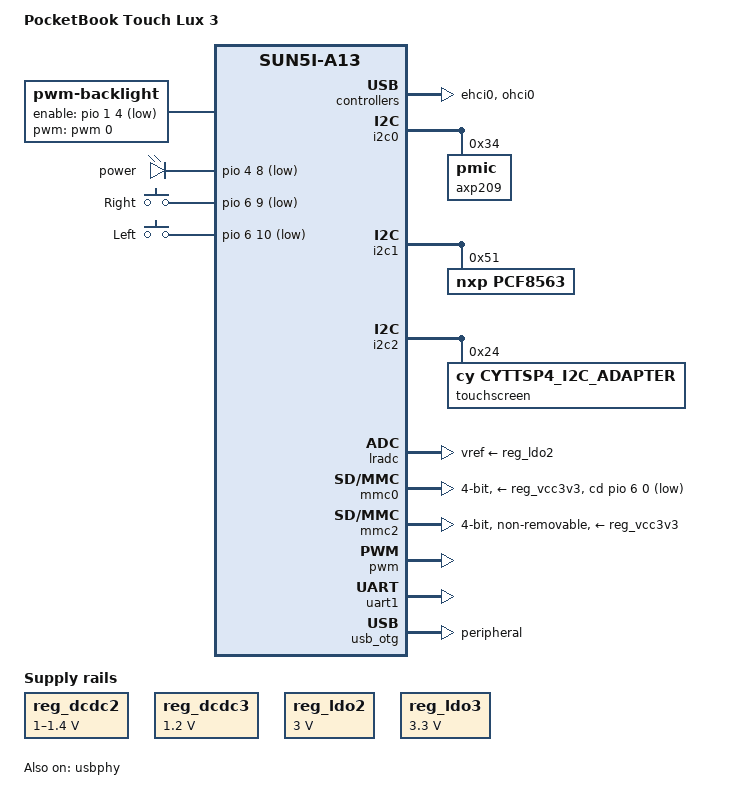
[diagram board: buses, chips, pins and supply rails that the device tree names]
/*
 * Copyright 2019 Ondrej Jirman <megous@megous.com>
 */

/dts-v1/;
#include "sun5i-a13.dtsi"
#include "sunxi-common-regulators.dtsi"
#include <dt-bindings/gpio/gpio.h>
#include <dt-bindings/input/input.h>
#include <dt-bindings/interrupt-controller/irq.h>
#include <dt-bindings/pwm/pwm.h>

/ {
	model = "PocketBook Touch Lux 3";
	compatible = "pocketbook,touch-lux-3", "allwinner,sun5i-a13";

	aliases {
		serial0 = &uart1;
	};

	backlight: backlight {
		compatible = "pwm-backlight";
		pwms = <&pwm 0 50000 PWM_POLARITY_INVERTED>;
		enable-gpios = <&pio 1 4 GPIO_ACTIVE_LOW>; /* PB4 */
		brightness-levels = <0 10 20 30 40 50 60 70 80 90 100>;
		default-brightness-level = <8>;
	};

	chosen {
		stdout-path = "serial0:115200n8";
	};

	leds {
		compatible = "gpio-leds";

		power {
			gpios = <&pio 4 8 GPIO_ACTIVE_LOW>; /* PE8 */
			default-state = "on";
		};
	};

	gpio-keys {
		compatible = "gpio-keys";
		autorepeat;
		label = "GPIO Keys";

		key-right {
			label = "Right";
			linux,code = <KEY_RIGHT>;
			gpios = <&pio 6 9 GPIO_ACTIVE_LOW>; /* PG9 */
		};

		key-left {
			label = "Left";
			linux,code = <KEY_LEFT>;
			gpios = <&pio 6 10 GPIO_ACTIVE_LOW>; /* PG10 */
		};
	};
};

&cpu0 {
	cpu-supply = <&reg_dcdc2>;
};

&ehci0 {
	status = "okay";
};

&ohci0 {
	status = "okay";
};

&i2c0 {
	status = "okay";

	axp209: pmic@34 {
		reg = <0x34>;
		interrupts = <0>;
	};
};

#include "axp209.dtsi"

&i2c1 {
	status = "okay";

	pcf8563: rtc@51 {
		compatible = "nxp,pcf8563";
		reg = <0x51>;
	};

	//TODO: pmic for edp (does not fit the regulator
	// framework nicely and is tightly coupled to edp)
};

&i2c2 {
	status = "okay";

        touchscreen@24 {
                compatible = "cy,cyttsp4_i2c_adapter";
                reg = <0x24>;

		//interrupt-parent = <&pio>;
		//interrupts = <6 11 IRQ_TYPE_EDGE_FALLING>; /* EINT11 (PG11) */

                cy,adapter_id = "cyttsp4_i2c_adapter";

                cy,core {
                        cy,name = "cyttsp4_core";
                        cy,id = "main_ttsp_core";

                        cy,irq_gpio = <203>;  /* PG11 */
                        cy,rst_gpio = <35>; /* PB3 */
                        cy,pwr_gpio = <133>; /* PE5 */

                        cy,flags = <0>;
                        // not supported on the chip
                        cy,easy_wakeup_gesture = <0>;

                        cy,mt {
                                cy,name = "cyttsp4_mt";

                                cy,inp_dev_name = "cyttsp4_mt";

                                /* CY_MT_FLAG_NONE */
                                cy,flags = <0>;
                                cy,abs = <
                                        /* ABS_MT_POSITION_X, CY_ABS_MIN_X, CY_ABS_MAX_X, 0, 0 */
					0x35    0          0x370 0 0
                                        /* ABS_MT_POSITION_Y, CY_ABS_MIN_Y, CY_ABS_MAX_Y, 0, 0 */
					0x36    0          0x500 0 0
                                        /* ABS_MT_PRESSURE, CY_ABS_MIN_P, CY_ABS_MAX_P, 0, 0 */
					0x3A    0          0xFF  0 0 
                                        /* CY_IGNORE_VALUE, CY_ABS_MIN_W, CY_ABS_MAX_W, 0, 0 */
					0xFFff  0          0xFF  0 0
                                        /* ABS_MT_TRACKING_ID, CY_ABS_MIN_T, CY_ABS_MAX_T, 0, 0 */
					0x39    0          0xF   0 0
                                        /* ABS_MT_TOUCH_MAJOR, 0, 255, 0, 0 */
					0x30    0          0xFF  0 0
                                        /* ABS_MT_TOUCH_MINOR, 0, 255, 0, 0 */
					0x31    0          0xFF  0 0
                                        /* ABS_MT_ORIENTATION, -127, 127, 0, 0 */
					0x34    0xffffff81 0x7F  0 0
					/* ??? */
					0x37    0          1     0 0
					0x19    0          0xFF  0 0
				>;

//                                cy,vkeys_x = <1024>;
//                                cy,vkeys_y = <758>;
                                cy,vkeys_x = <720>;
                                cy,vkeys_y = <1280>;
                        };  

                        cy,btn {
                                cy,name = "cyttsp4_btn";
                                cy,inp_dev_name = "cyttsp4_btn";
                        };  

                        cy,proximity {
                                cy,name = "cyttsp4_proximity";

                                cy,inp_dev_name = "cyttsp4_proximity";
                                cy,abs =
                                        /* ABS_DISTANCE, CY_PROXIMITY_MIN_VAL, CY_PROXIMITY_MAX_VAL, 0, 0 */
                                        <0x19 0 1 0 0>;
                        };  
                };
	};
};

&lradc {
	vref-supply = <&reg_ldo2>;
	status = "okay";

	button-200 {
		label = "Home";
		linux,code = <KEY_HOME>;
		channel = <0>;
		voltage = <200000>;
	};

	button-400 {
		label = "Menu";
		linux,code = <KEY_MENU>;
		channel = <0>;
		voltage = <400000>;
	};
};

&mmc0 {
	vmmc-supply = <&reg_vcc3v3>;
	bus-width = <4>;
	cd-gpios = <&pio 6 0 GPIO_ACTIVE_LOW>; /* PG0 */
	enable-gpios = <&pio 4 4 GPIO_ACTIVE_LOW>; /* PE4 */
	status = "okay";
};

&mmc2 {
         pinctrl-names = "default";
         pinctrl-0 = <&mmc2_4bit_pc_pins>;
         vmmc-supply = <&reg_vcc3v3>;
         bus-width = <4>;
         non-removable;
         status = "okay";
};

&otg_sram {
	status = "okay";
};

&pwm {
	pinctrl-names = "default";
	pinctrl-0 = <&pwm0_pin>;
	status = "okay";
};

&reg_dcdc2 {
	regulator-always-on;
	regulator-min-microvolt = <1000000>;
	regulator-max-microvolt = <1400000>;
	regulator-name = "vdd-cpu";
};

&reg_dcdc3 {
	regulator-always-on;
	regulator-min-microvolt = <1200000>;
	regulator-max-microvolt = <1200000>;
	regulator-name = "vdd-int-pll";
};

&reg_ldo1 {
	regulator-name = "vdd-rtc";
};

&reg_ldo2 {
	regulator-always-on;
	regulator-min-microvolt = <3000000>;
	regulator-max-microvolt = <3000000>;
	regulator-name = "avcc";
};

&reg_ldo3 {
	regulator-min-microvolt = <3300000>;
	regulator-max-microvolt = <3300000>;
	regulator-name = "vcc-wifi";
	/* We need this otherwise the LDO3 would overload */
	regulator-soft-start;
	regulator-ramp-delay = <1600>;
};

&uart1 {
	pinctrl-names = "default";
	pinctrl-0 = <&uart1_pg_pins>;
	status = "okay";
};

&usb_otg {
	dr_mode = "peripheral";
	status = "okay";
};

&usbphy {
	usb0_vbus_det-gpios = <&pio 6 1 GPIO_ACTIVE_HIGH>; /* PG1 */
	usb1_vbus-supply = <&reg_ldo3>;
	status = "okay";
};

&usb_power_supply {
	status = "okay";
};

&battery_power_supply {
	status = "okay";
};
